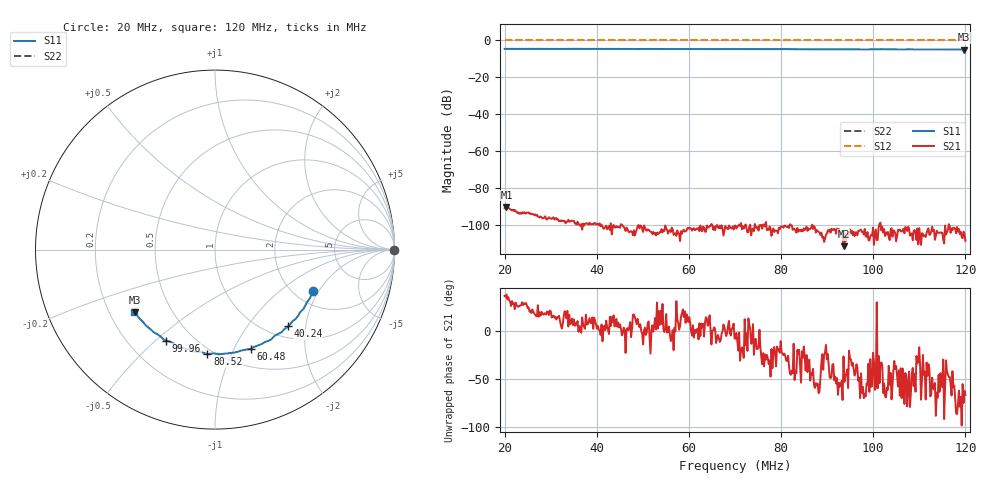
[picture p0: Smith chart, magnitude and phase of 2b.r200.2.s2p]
! Anritsu VNA Master:  Model: MS2036C/10/77
! SN:  1601066
! /card0/usr/18may27.balun/252b.r200.2.s2p
! Existing Calibration Information:
! TYPE:  Current Settings,  Active Cal Settings
! TIME:  05/27/2018 12:38:43 PM,  05/27/2018 12:21:44 PM
! INTERNAL TEMP:  53.3 C,  53.3 C
! # POINTS:  500,  500
! START FREQ:  20.000 MHz,  20.000 MHz
! STOP FREQ:  120.000 MHz,  120.000 MHz
! SOURCE POWER:  High,  High
! IFBW:  50 Hz,  50 Hz
! AVG FACTOR:  1 ,  1
! REF PLANE 1:  0 mm,  0 mm
! REF PLANE 2:  0 mm,  0 mm
! CAL TYPE:  Full S11,  Full S11
! CAL METHOD:  SOLT,  SOLT
! CAL LINE TYPE:  Coax,  Coax
! DUT PORT 1:  K-Conn(M),  K-Conn(M)
! DUT PORT 2:  K-Conn(M),  K-Conn(M)
! CAL STATUS:  OK: Accuracy High,  --
# GHZ S DB R 50.0
! FREQ.GHZ  S11DB  S11A  S21DB  S21A  S12DB  S12A  S22DB  S22A
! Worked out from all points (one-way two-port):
!   500 points, 20 MHz to 120 MHz, reference 50 ohm
!   highest |S21| = -90.51 dB at 20.4 MHz (marker M1); lowest = -111.7 dB at 93.55 MHz (marker M2)
!   lowest |S11| = -4.9 dB at 119.6 MHz (marker M3), VSWR 3.62, Z = 15.3 - j15.8 ohm
!   |S11| at or under -10 dB: nowhere
!   |S22| runs from 0.0 to 0.0 dB; largest |S21 - S12| = 1
!   S11 on the Smith chart (normalised r, x): 20 MHz: 2.50, -1.77; 40.24 MHz: 1.22, -1.60; 60.48 MHz: 0.69, -1.17; 80.52 MHz: 0.46, -0.82; 99.96 MHz: 0.36, -0.54; 120 MHz: 0.31, -0.31
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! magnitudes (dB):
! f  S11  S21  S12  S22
! 20 MHz  -4.6  -91.1  0.0  0.0
! 20.4 MHz  -4.6  -90.5  0.0  0.0
! 36.83 MHz  -4.6  -102.8  0.0  0.0
! 40.24 MHz  -4.6  -99.8  0.0  0.0
! 44.05 MHz  -4.6  -101.7  0.0  0.0
! 47.66 MHz  -4.7  -103.9  0.0  0.0
! 51.26 MHz  -4.6  -102.9  0.0  0.0
! 53.47 MHz  -4.7  -104.8  0.0  0.0
! 60.48 MHz  -4.6  -102.3  0.0  0.0
! 64.29 MHz  -4.7  -101.5  0.0  0.0
! 70.1 MHz  -4.7  -100.6  0.0  0.0
! 77.72 MHz  -4.7  -102.2  0.0  0.0
! 80.52 MHz  -4.7  -101.7  0.0  0.0
! 83.73 MHz  -4.8  -103.9  0.0  0.0
! 86.73 MHz  -4.7  -100.1  0.0  0.0
! 93.55 MHz  -4.8  -111.7  0.0  0.0
! 97.96 MHz  -4.9  -105.5  0.0  0.0
! 99.96 MHz  -4.8  -101.7  0.0  0.0
! 101.4 MHz  -4.8  -99.6  0.0  0.0
! 103.4 MHz  -4.8  -106.7  0.0  0.0
! 119.6 MHz  -4.9  -103.9  0.0  0.0
! 120 MHz  -4.9  -108.8  0.0  0.0
